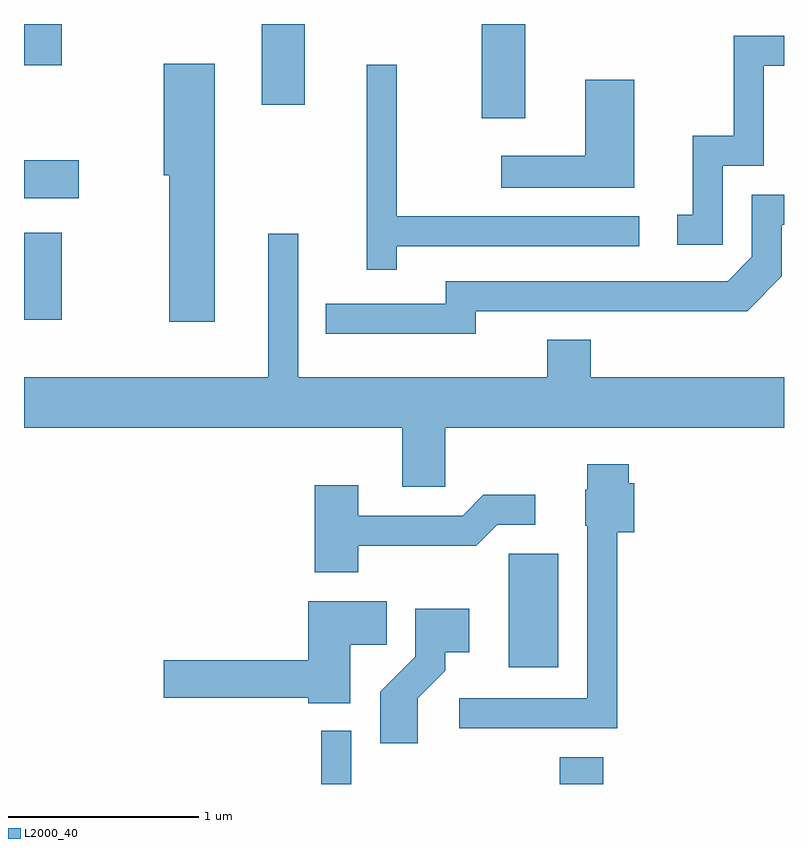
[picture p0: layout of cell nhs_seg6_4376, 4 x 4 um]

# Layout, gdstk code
import gdstk
lib = gdstk.Library(unit=1e-6, precision=1e-09)
def R(c, l, rs):  # rectangles x0, y0, x1, y1
    for r in rs: c.add(gdstk.rectangle(r[:2], r[2:], *l))
def P(c, l, *ps):  # polygons
    for p in ps: c.add(gdstk.Polygon(p, *l))
L2000_40 = (2000, 40)

nhs_seg6_4376 = lib.new_cell('nhs_seg6_4376')
R(nhs_seg6_4376, L2000_40, [(321.176,1548.162,321.334,1548.443), (322.431,1548.162,322.659,1548.304), (322.161,1548.776,322.424,1549.374), (319.611,1550.606,319.809,1551.064), (319.611,1551.246,319.899,1551.444), (322.021,1551.666,322.249,1552.162), (320.861,1551.736,321.089,1552.162), (319.611,1551.946,319.809,1552.162)])
P(nhs_seg6_4376, L2000_40, [(323.289,1551.416),(323.504,1551.416),(323.504,1551.941),(323.611,1551.941),(323.611,1552.099),(323.346,1552.099),(323.346,1551.574),(323.131,1551.574),(323.131,1551.159),(323.048,1551.159),(323.048,1551.001),(323.289,1551.001)],
  [(320.614,1551.954),(320.346,1551.954),(320.346,1551.366),(320.376,1551.366),(320.376,1550.596),(320.614,1550.596)],
  [(321.574,1550.991),(322.848,1550.991),(322.848,1551.149),(321.574,1551.149),(321.574,1551.948),(321.416,1551.948),(321.416,1550.868),(321.574,1550.868)],
  [(322.824,1551.869),(322.566,1551.869),(322.566,1551.469),(322.123,1551.469),(322.123,1551.301),(322.824,1551.301)],
  [(321.989,1550.651),(323.417,1550.651),(323.599,1550.834),(323.599,1551.106),(323.611,1551.106),(323.611,1551.264),(323.441,1551.264),(323.441,1550.937),(323.314,1550.809),(321.831,1550.809),(321.831,1550.689),(321.198,1550.689),(321.198,1550.531),(321.989,1550.531)],
  [(321.054,1551.058),(320.896,1551.058),(320.896,1550.304),(319.611,1550.304),(319.611,1550.036),(321.601,1550.036),(321.601,1549.726),(321.829,1549.726),(321.829,1550.036),(323.611,1550.036),(323.611,1550.304),(322.594,1550.304),(322.594,1550.499),(322.366,1550.499),(322.366,1550.304),(321.054,1550.304)],
  [(322.734,1549.486),(322.824,1549.486),(322.824,1549.744),(322.794,1549.744),(322.794,1549.844),(322.576,1549.844),(322.576,1549.71),(322.566,1549.71),(322.566,1549.52),(322.576,1549.52),(322.576,1548.614),(321.903,1548.614),(321.903,1548.456),(322.734,1548.456)],
  [(321.369,1549.416),(321.992,1549.416),(322.102,1549.526),(322.303,1549.526),(322.303,1549.684),(322.029,1549.684),(321.919,1549.574),(321.369,1549.574),(321.369,1549.734),(321.141,1549.734),(321.141,1549.276),(321.369,1549.276)],
  [(321.329,1548.896),(321.519,1548.896),(321.519,1549.124),(321.106,1549.124),(321.106,1548.814),(320.346,1548.814),(320.346,1548.616),(321.106,1548.616),(321.106,1548.586),(321.329,1548.586)],
  [(321.684,1548.614),(321.829,1548.759),(321.829,1548.856),(321.954,1548.856),(321.954,1549.084),(321.671,1549.084),(321.671,1548.832),(321.486,1548.647),(321.486,1548.376),(321.684,1548.376)])

lib.write_gds('nhs_seg6_4376.gds')
